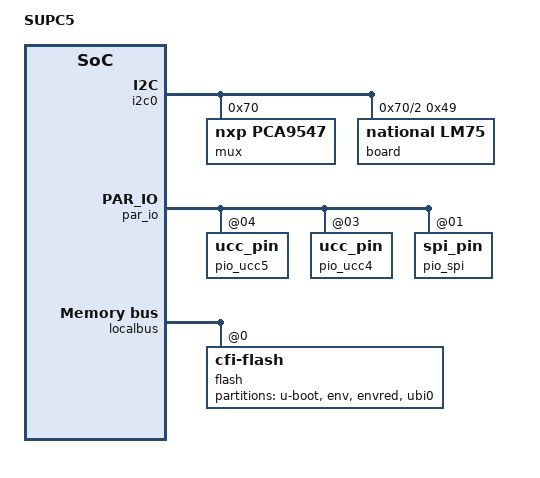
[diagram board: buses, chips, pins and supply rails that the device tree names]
// SPDX-License-Identifier: GPL-2.0+
/*
 * Hitachi Power Grids SUPC5 Device Tree Source
 *
 * Copyright (C) 2020 Heiko Schocher <hs@denx.de>
 *
 */

/dts-v1/;

#include "km8321.dtsi"

/ {
	model = "SUPC5";
	compatible = "hitachi,kmpbec8321";
	#address-cells = <1>;
	#size-cells = <1>;

	aliases {
		ethernet0 = &enet_piggy2;
		serial0 = &serial0;
	};
};

&i2c0 {
	mux@70 {
		compatible = "nxp,pca9547";
		reg = <0x70>;
		#address-cells = <1>;
		#size-cells = <0>;

		i2c@1 {
			reg = <1>;
			#address-cells = <1>;
			#size-cells = <0>;

			/* Inventory EEPROM of the unit itself */
			ivm@50 {
				label = "MAIN_CTRL";
				compatible = "dummy";
				reg = <0x50>;
			};
		};

		i2c@2 {
			reg = <2>;
			#address-cells = <1>;
			#size-cells = <0>;

			/* Temperature sensors */
			temp@49 {
				label = "board";
				compatible = "national,lm75";
				reg = <0x49>;
			};
		};
	};
};

&par_io {
	/* UCC5 as HDLC controller for ICN */
	pio_ucc5: ucc_pin@04 {
		pio-map = <
			/* port pin dir open_drain assignment has_irq */
			2   0  1  0  2  0	/* TxD0 */
			2   8  2  0  2  0	/* RxD0 */
			2  29  2  0  2  0	/* CTS */
			3  30  2  0  1  0	/* ICN CLK */
			>;
	};

	/* UCC4 Piggy Ethernet */
	pio_ucc4: ucc_pin@03 {
		pio-map = <
			/* port pin dir open_drain assignment has_irq */
			3   4  3  0  2  0	/* MDIO */
			3   5  1  0  2  0	/* MDC  */

			1 18  1  0  1  0	/* TxD0 */
			1 19  1  0  1  0	/* TxD1 */
			1 22  2  0  1  0	/* RxD0 */
			1 23  2  0  1  0	/* RxD1 */
			1 26  2  0  1  0	/* RX_ER */
			1 28  2  0  1  0	/* RX_DV */
			1 30  1  0  1  0	/* TX_EN */
			1 31  2  0  1  0	/* CRS */
			/* UCC4_RMII_CLK (CLK17) */
			3 10  2  0  3  0
		>;
	};

	pio_spi: spi_pin@01 {
		pio-map = <
			/*
			 * port  pin  dir  open_drain  assignment  has_irq
			 * SPI_MOSI (PD0, bi, f3)
			 */
			3  0  3  0  1  0
			/* SPI_MISO (PD1, bi, f3) */
			3  1  3  0  1  0
			/* SPI_CLK  (PD2, bi, f3) */
			3  2  3  0  1  0
		>;
	};
};

&spi0 {
	pio-handle = <&pio_spi>;
};

&localbus {
	ranges = <0 0 0xf0000000 0x04000000     /* LB 0 Flash (boot) */
		  1 0 0xe8000000 0x01000000     /* LB 1 PRIO1 and Piggy */
		  2 0 0xa0000000 0x10000000>;   /* LB 2 LPXF */

	flash@0,0 {
		compatible = "cfi-flash";
		reg = <0 0x00000000 0x04000000>;
		bank-width = <2>;
		#address-cells = <1>;
		#size-cells = <1>;
		partition@0 { /* 768KB */
			label = "u-boot";
			reg = <0 0xC0000>;
		};
		partition@c0000 { /* 128KB */
			label = "env";
			reg = <0xc0000 0x20000>;
		};
		partition@e0000 { /* 128KB */
			label = "envred";
			reg = <0xe0000 0x20000>;
		};
		partition@100000 { /* 64512KB */
			label = "ubi0";
			reg = <0x100000 0x3F00000>;
		};
	};
};
